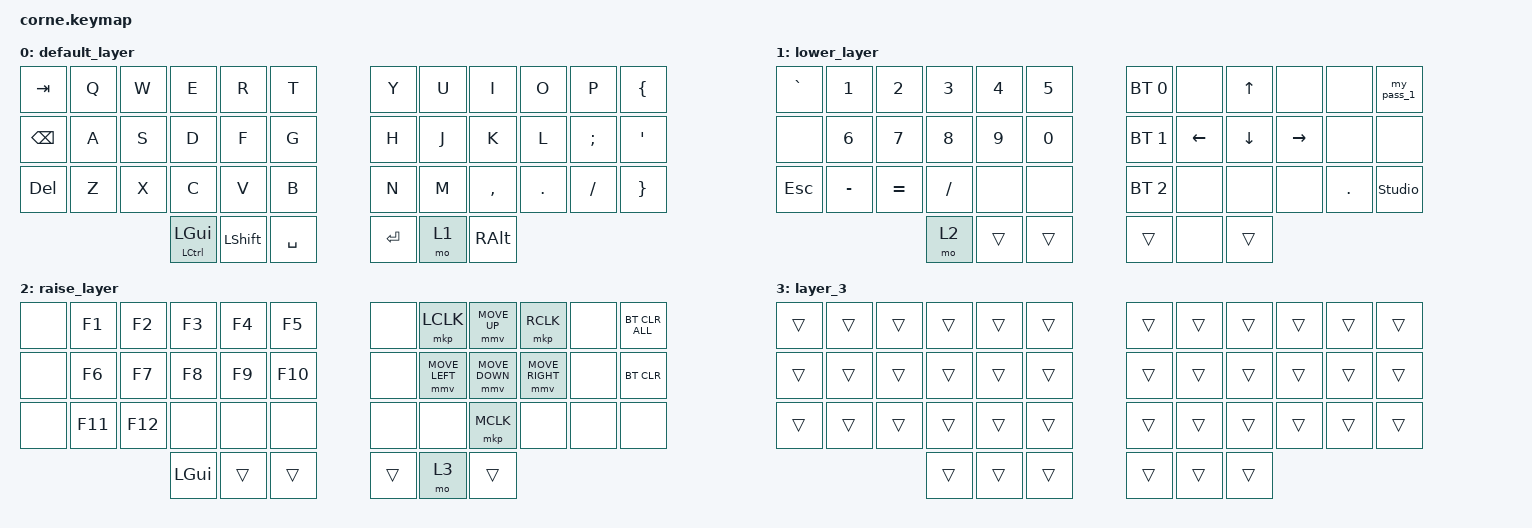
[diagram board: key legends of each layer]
/*
 * Copyright (c) 2020 The ZMK Contributors
 *
 * SPDX-License-Identifier: MIT
 */

#include <behaviors.dtsi>
#include <dt-bindings/zmk/bt.h>
#include <dt-bindings/zmk/keys.h>
#include <dt-bindings/zmk/pointing.h>

/ {
    combos {
        compatible = "zmk,combos";

        screen {
            bindings = <&kp PRINTSCREEN>;
            key-positions = <35 34>;
        };

        langv {
            bindings = <&kp LG(SPACE)>;
            key-positions = <16 15>;
        };
    };

    macros {
        my_pass_1: my_pass_1 {
            compatible = "zmk,behavior-macro";
            #binding-cells = <0>;
            bindings = <&kp N1 &kp Q &kp A &kp Z &kp AT &kp LS(W) &kp LS(S) &kp LS(X) &kp N3 &kp E &kp D &kp C &kp DLLR &kp LS(R) &kp LS(F) &kp LS(V) &kp EXCL &kp AT &kp POUND &kp DLLR>;
            label = "MY_PASS_1";
        };
    };

    keymap {
        compatible = "zmk,keymap";

        default_layer {
            // -----------------------------------------------------------------------------------------
            // |  TAB |  Q  |  W  |  E  |  R  |  T  |   |  Y  |  U   |  I  |  O  |  P  | BKSP |
            // | CTRL |  A  |  S  |  D  |  F  |  G  |   |  H  |  J   |  K  |  L  |  ;  |  '   |
            // | SHFT |  Z  |  X  |  C  |  V  |  B  |   |  N  |  M   |  ,  |  .  |  /  | ESC  |
            //                    | GUI | LWR | SPC |   | ENT | RSE  | ALT |

            bindings = <
&kp TAB        &kp Q  &kp W  &kp E                      &kp R           &kp T        &kp Y    &kp U  &kp I      &kp O    &kp P     &kp LEFT_BRACE
&kp BACKSPACE  &kp A  &kp S  &kp D                      &kp F           &kp G        &kp H    &kp J  &kp K      &kp L    &kp SEMI  &kp SQT
&kp DELETE     &kp Z  &kp X  &kp C                      &kp V           &kp B        &kp N    &kp M  &kp COMMA  &kp DOT  &kp FSLH  &kp RIGHT_BRACE
                             &mt LEFT_CONTROL LEFT_GUI  &kp LEFT_SHIFT  &kp SPACE    &kp RET  &mo 1  &kp RALT
            >;
        };

        lower_layer {
            // -----------------------------------------------------------------------------------------
            // |  TAB |  1  |  2  |  3  |  4  |  5  |   |  6  |  7  |  8  |  9  |  0  | BKSP |
            // | BTCLR| BT1 | BT2 | BT3 | BT4 | BT5 |   | LFT | DWN |  UP | RGT |     |      |
            // | SHFT |     |     |     |     |     |   |     |     |     |     |     |      |
            //                    | GUI |     | SPC |   | ENT |     | ALT |

            bindings = <
&kp GRAVE   &kp N1        &kp N2     &kp N3     &kp N4  &kp N5    &bt BT_SEL 0  &none           &kp UP_ARROW  &none      &none    &my_pass_1
&none       &kp NUMBER_6  &kp N7     &kp N8     &kp N9  &kp N0    &bt BT_SEL 1  &kp LEFT_ARROW  &kp DOWN      &kp RIGHT  &none    &none
&kp ESCAPE  &kp MINUS     &kp EQUAL  &kp SLASH  &none   &none     &bt BT_SEL 2  &none           &none         &none      &kp DOT  &studio_unlock
                                     &mo 2      &trans  &trans    &trans        &none           &trans
            >;
        };

        raise_layer {
            // -----------------------------------------------------------------------------------------
            // |  TAB |  !  |  @  |  #  |  $  |  %  |   |  ^  |  &  |  *  |  (  |  )  | BKSP |
            // | CTRL |     |     |     |     |     |   |  -  |  =  |  [  |  ]  |  \  |  `   |
            // | SHFT |     |     |     |     |     |   |  _  |  +  |  {  |  }  | "|" |  ~   |
            //                    | GUI |     | SPC |   | ENT |     | ALT |

            bindings = <
&none  &kp F1   &kp F2   &kp F3        &kp F4  &kp F5     &none   &mkp LCLK       &mmv MOVE_UP    &mkp RCLK        &none  &bt BT_CLR_ALL
&none  &kp F6   &kp F7   &kp F8        &kp F9  &kp F10    &none   &mmv MOVE_LEFT  &mmv MOVE_DOWN  &mmv MOVE_RIGHT  &none  &bt BT_CLR
&none  &kp F11  &kp F12  &none         &none   &none      &none   &none           &mkp MCLK       &none            &none  &none
                         &kp LEFT_GUI  &trans  &trans     &trans  &mo 3           &trans
            >;
        };

        layer_3 {
            bindings = <
&trans  &trans  &trans  &trans  &trans  &trans    &trans  &trans  &trans  &trans  &trans  &trans
&trans  &trans  &trans  &trans  &trans  &trans    &trans  &trans  &trans  &trans  &trans  &trans
&trans  &trans  &trans  &trans  &trans  &trans    &trans  &trans  &trans  &trans  &trans  &trans
                        &trans  &trans  &trans    &trans  &trans  &trans
            >;
        };
    };
};
